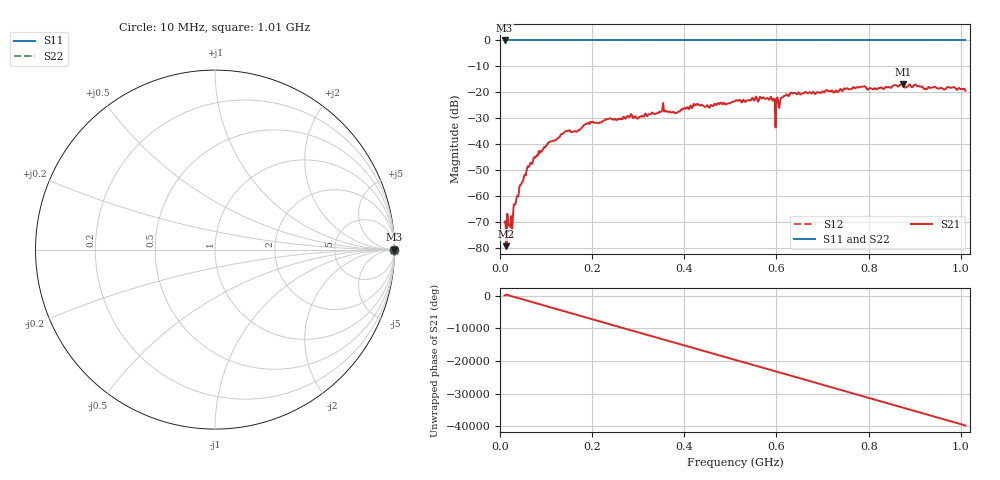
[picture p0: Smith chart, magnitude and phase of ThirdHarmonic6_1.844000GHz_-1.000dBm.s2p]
! 8/16/2025 10:19:19 PM
! C:\ANRITSUVNA\TEMP\TEMP.S2P
! CHANNEL.1
! TR.MEASUREMENT
! RAW.DATA
! RF.CORRECTION.OFF
! AVERAGING.OFF
! IF.BANDWIDTH: 5KHZ
! SWEEPTYPE:  FREQ.SWEEP(Linear)
! Reference Plane Port Info
! PORT:  PORT1  PORT2
! DISTANCE:  0  m  0  m
! TIME:  0  s  0  s
! PHASE.OFFSET:  0  deg.  0  deg.
! LOSS:  0  dB  0  dB
! REF.LOSS:  0  dB  0  dB
! REF.FREQ:  0  Hz  0  Hz
! Power Info
! POWER:  -20  dBm  -20  dBm
! EFF.POWER:  -20  dBm  -20  dBm
! SOURCE.ATTEN:  0  dB  0  dB
! TEST.ATTEN:  0  dB  0  dB
# GHZ S RI R 50.0
! FREQ.GHZ  S11RE  S11IM  S21RE  S21IM  S12RE  S12IM  S22RE  S22IM
!; PortSelection: Port_12
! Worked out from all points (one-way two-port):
!   501 points, 10 MHz to 1.01 GHz, reference 50 ohm
!   highest |S21| = -16.91 dB at 874 MHz (marker M1); lowest = -79.1 dB at 14 MHz (marker M2)
!   lowest |S11| = 0.0 dB at 10 MHz (marker M3)
!   |S11| at or under -10 dB: nowhere
!   |S22| runs from 0.0 to 0.0 dB; largest |S21 - S12| = 1.1
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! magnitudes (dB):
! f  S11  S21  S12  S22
! 10 MHz  0.0  -69.9  0.0  0.0
! 14 MHz  0.0  -79.1  0.0  0.0
! 18 MHz  0.0  -70.8  0.0  0.0
! 20 MHz  0.0  -71.2  0.0  0.0
! 24 MHz  0.0  -67.6  0.0  0.0
! 34 MHz  0.0  -62.8  0.0  0.0
! 46 MHz  0.0  -55.3  0.0  0.0
! 62 MHz  0.0  -48.6  0.0  0.0
! 76 MHz  0.0  -45.1  0.0  0.0
! 138 MHz  0.0  -35.7  0.0  0.0
! 178 MHz  0.0  -33.3  0.0  0.0
! 234 MHz  0.0  -30.3  0.0  0.0
! 344 MHz  0.0  -27.8  0.0  0.0
! 510 MHz  0.0  -23.3  0.0  0.0
! 584 MHz  0.0  -22.9  0.0  0.0
! 602 MHz  0.0  -21.9  0.0  0.0
! 604 MHz  0.0  -23.5  0.0  0.0
! 620 MHz  0.0  -21.2  0.0  0.0
! 678 MHz  0.0  -20.0  0.0  0.0
! 844 MHz  0.0  -17.9  0.0  0.0
! 874 MHz  0.0  -16.9  0.0  0.0
! 1.01 GHz  0.0  -19.3  0.0  0.0
